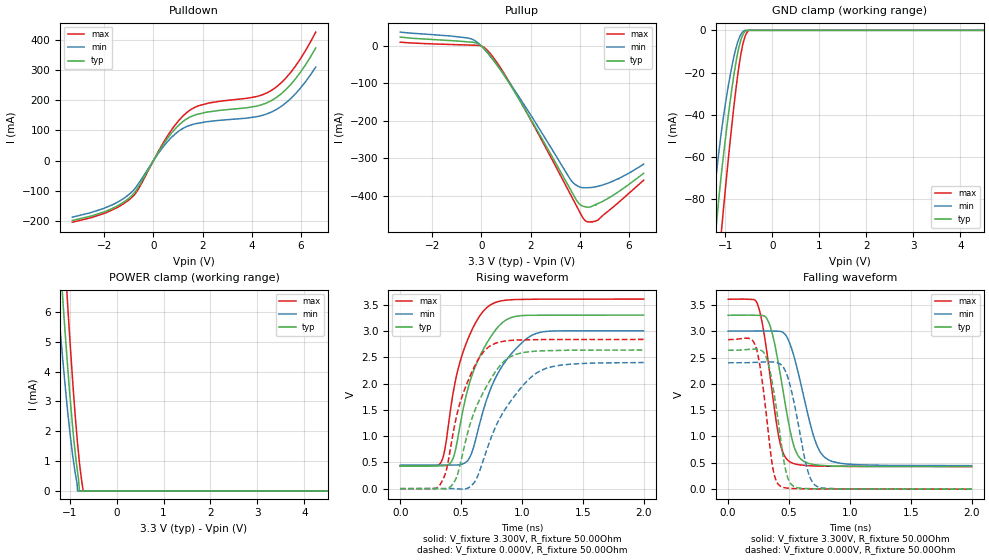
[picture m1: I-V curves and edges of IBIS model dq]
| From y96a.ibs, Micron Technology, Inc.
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|   dq MODEL
[Model]   dq
Model_type   I/O
Vinl = 800.000mV
Vinh = 2.000V
Vmeas = 1.500V
Cref = 50.000pF
|   typ   min   max
C_comp   3.900pF   3.230pF   4.570pF
[Voltage Range]   3.300V   3.000V   3.600V
[Temperature Range]   25.0   85.0   0.0
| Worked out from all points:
|   slope of the pulldown table from 0 to 0.495 V, typ, clamps not added: 7.64 ohm
|   slope of the pullup table from 0 to 0.495 V, typ, clamps not added: 13.3 ohm
|   GND clamp passes 1 mA (typ) near -0.60 V on its own axis
|   POWER clamp passes 1 mA (typ) near -0.86 V on its own axis
|   falling waveform, V_fixture 3.300V, R_fixture 50.00Ohm: 20-80 % time 134ps typ, 165ps min, 116ps max; typ from 3.31 V to 0.427 V
|   rising waveform, V_fixture 3.300V, R_fixture 50.00Ohm: 20-80 % time 225ps typ, 264ps min, 192ps max; typ from 0.427 V to 3.31 V
|   rising waveform, V_fixture 0.000V, R_fixture 50.00Ohm: 20-80 % time 251ps typ, 319ps min, 201ps max; typ from -0.003 V to 2.64 V
|   falling waveform, V_fixture 0.000V, R_fixture 50.00Ohm: 20-80 % time 103ps typ, 125ps min, 90ps max; typ from 2.64 V to -0.003 V
[Pulldown]
|   Voltage   I(typ)   I(min)   I(max)
-3.3V     -197.8mA   -187mA     -203.6mA
-1.75V    -161.1mA   NA         NA
-860mV    -114.1mA   NA         NA
-550mV    -78.52mA   -68.85mA   NA
590mV     75.86mA    NA         NA
1.09V     122mA      NA         NA
1.45V     142.7mA    NA         NA
2.16V     160.3mA    NA         NA
4.2V      180.3mA    NA         NA
4.99V     208.3mA    NA         NA
5.78V     270.9mA    221.5mA    NA
6.6V      372.7mA    309.7mA    425.1mA
[GND Clamp]
|   Voltage   I(typ)   I(min)   I(max)
-3.3V     -752.5mA   -640.7mA   -874.1mA
-1.31V    -123.2mA   NA         NA
-1.21V    -96.77mA   NA         NA
-1.15V    -82.14mA   -59.81mA   NA
-1.1V     -71.08mA   NA         NA
-1.06V    -62.97mA   NA         NA
-910mV    -35.54mA   NA         NA
-810mV    -19.85mA   NA         NA
-710mV    -7.79mA    NA         NA
-600mV    -1.014mA   NA         NA
-540mV    0A         NA         NA
6.6V      0A         0A         0A
[Pullup]
|   Voltage   I(typ)   I(min)   I(max)
-3.3V     23.56mA    37.02mA    10.04mA
-360mV    9.9mA      NA         NA
0V        -38.94uA   -28.56uA   -66.08uA
240mV     -16mA      NA         NA
650mV     -51.41mA   NA         NA
1.24V     -110.9mA   NA         NA
3.85V     -410.4mA   NA         NA
4.01V     -423.7mA   NA         NA
4.25V     -430.1mA   NA         NA
4.67V     -423.2mA   NA         NA
5.53V     -391.7mA   NA         NA
6.6V      -340.4mA   -315.9mA   -358.7mA
[POWER Clamp]
|   Voltage   I(typ)   I(min)   I(max)
-3.3V     70.35mA    59.13mA    79.67mA
-1.26V    9.225mA    NA         NA
-1.21V    7.997mA    NA         NA
-1.15V    6.577mA    4.505mA    NA
-1.06V    4.574mA    NA         NA
-1.01V    3.548mA    NA         NA
-960mV    2.598mA    NA         NA
-910mV    1.742mA    NA         NA
-860mV    1.003mA    NA         NA
-810mV    412.4uA    NA         NA
-790mV    0A         NA         NA
6.6V      0A         0A         0A
[Ramp]
R_load = 50.00Ohm
|   typ   min   max
dV/dt_r   1.585V/250.475ps   1.443V/318.759ps   1.707V/200.900ps
dV/dt_f   1.727V/134.406ps   1.536V/164.441ps   1.910V/116.318ps
[Falling Waveform]
V_fixture = 3.300V
V_fixture_min = 3.000V
V_fixture_max = 3.600V
R_fixture = 50.00Ohm
|   Time   V(typ)   V(min)   V(max)
0s        3.306V     3.005V     3.611V
170ps     3.309V     NA         NA
280ps     3.303V     NA         NA
340ps     3.133V     NA         NA
410ps     2.425V     NA         NA
500ps     1.216V     NA         NA
590ps     587.8mV    NA         NA
710ps     462.8mV    NA         NA
780ps     446.8mV    NA         NA
2ns       427.2mV    444.8mV    428.2mV
[Rising Waveform]
V_fixture = 3.300V
V_fixture_min = 3.000V
V_fixture_max = 3.600V
R_fixture = 50.00Ohm
|   Time   V(typ)   V(min)   V(max)
0s        427.2mV    444.8mV    428.2mV
220ps     427mV      NA         NA
360ps     433.5mV    NA         NA
420ps     509.9mV    NA         NA
470ps     922.7mV    NA         NA
570ps     2.018V     NA         NA
740ps     2.88V      NA         NA
870ps     3.216V     NA         NA
1.05ns    3.302V     NA         NA
2ns       3.306V     3.005V     3.611V
[Rising Waveform]
V_fixture = 0.000V
V_fixture_min = 0.000V
V_fixture_max = 0.000V
R_fixture = 50.00Ohm
|   Time   V(typ)   V(min)   V(max)
0s        -2.658mV   -3.033mV   -2.478mV
300ps     1.206mV    NA         NA
380ps     -5.892mV   NA         NA
430ps     78.92mV    NA         NA
490ps     435mV      NA         NA
600ps     1.409V     NA         NA
750ps     2.113V     NA         NA
910ps     2.519V     NA         NA
1.15ns    2.624V     NA         NA
2ns       2.64V      2.402V     2.842V
[Falling Waveform]
V_fixture = 0.000V
V_fixture_min = 0.000V
V_fixture_max = 0.000V
R_fixture = 50.00Ohm
|   Time   V(typ)   V(min)   V(max)
0s        2.64V      2.402V     2.842V
200ps     2.661V     NA         NA
240ps     2.661V     NA         NA
310ps     2.526V     NA         NA
370ps     1.923V     NA         NA
440ps     802.8mV    NA         NA
520ps     83.5mV     NA         NA
630ps     9.581mV    NA         NA
710ps     4.194mV    NA         NA
2ns       -2.658mV   -3.033mV   -2.478mV
